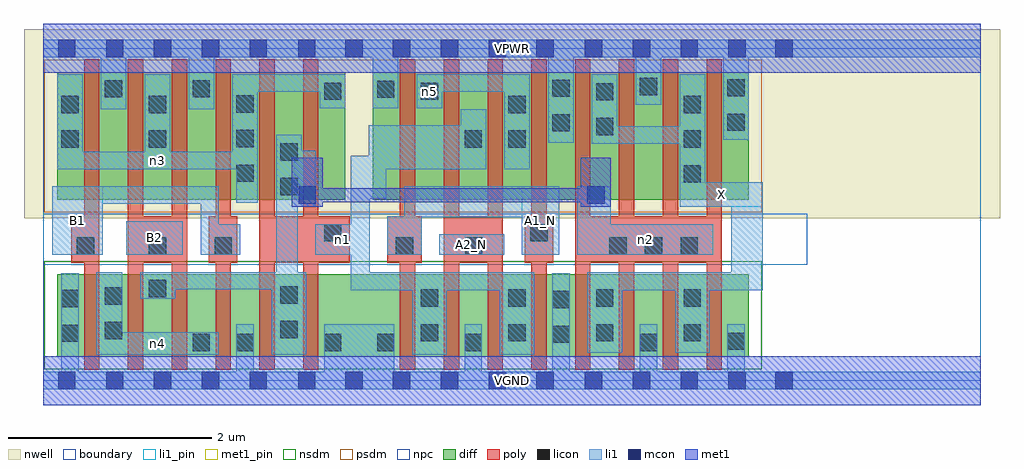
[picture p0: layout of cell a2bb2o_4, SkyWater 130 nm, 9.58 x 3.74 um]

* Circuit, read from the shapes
.subckt a2bb2o_4 A1_N A2_N B1 B2 VGND VPWR X n1 n2 n3 n4 n5
XM1 n4 B1 VGND VSUBS sky130_fd_pr__nfet_01v8 w=0.81 l=0.15 m=2
XM2 n2 B2 n4 VSUBS sky130_fd_pr__nfet_01v8 w=0.81 l=0.15 m=2
XM3 n2 n1 VGND VSUBS sky130_fd_pr__nfet_01v8 w=0.81 l=0.15 m=2
XM4 n1 A1_N VGND VSUBS sky130_fd_pr__nfet_01v8 w=0.81 l=0.15 m=2
XM5 VGND A2_N n1 VSUBS sky130_fd_pr__nfet_01v8 w=0.81 l=0.15 m=2
XM6 X n2 VGND VSUBS sky130_fd_pr__nfet_01v8 w=0.81 l=0.15 m=4
XM7 VPWR B1 n3 n6 sky130_fd_pr__pfet_01v8 w=1.25 l=0.15 m=2
XM8 n3 B2 VPWR n6 sky130_fd_pr__pfet_01v8 w=1.25 l=0.15 m=2
XM9 n2 n1 n3 n6 sky130_fd_pr__pfet_01v8 w=1.25 l=0.15 m=2
XM10 n5 A1_N VPWR n6 sky130_fd_pr__pfet_01v8 w=1.25 l=0.15 m=2
XM11 n1 A2_N n5 n6 sky130_fd_pr__pfet_01v8 w=1.25 l=0.15 m=2
XM12 X n2 VPWR n6 sky130_fd_pr__pfet_01v8 w=1.25 l=0.15 m=4
.ends

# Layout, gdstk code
import gdstk
lib = gdstk.Library(unit=1e-6, precision=1e-09)
def R(c, l, rs):  # rectangles x0, y0, x1, y1
    for r in rs: c.add(gdstk.rectangle(r[:2], r[2:], *l))
def A(c, l, x, y, w, h, nx, ny, dx, dy):  # array of equal rectangles
    R(c, l, [(x+i*dx, y+j*dy, x+i*dx+w, y+j*dy+h) for i in range(nx) for j in range(ny)])
nwell = (64, 20)
diff = (65, 20)
poly = (66, 20)
licon = (66, 44)
li1_pin = (67, 16)
li1 = (67, 20)
mcon = (67, 44)
met1_pin = (68, 16)
met1 = (68, 20)
nsdm = (93, 44)
psdm = (94, 20)
npc = (95, 20)
boundary = (235, 4)

a2bb2o_4 = lib.new_cell('a2bb2o_4')
R(a2bb2o_4, nwell, [(-0.19,1.595,9.39,3.45), (0,1.595,9.2,3.45)])
R(a2bb2o_4, diff, [(0.135,0.235,6.925,1.045), (0.135,1.775,2.965,3.025), (3.235,1.775,6.925,3.025)])
A(a2bb2o_4, poly, 0.4, 0.105, 0.15, 3.05, 6, 1, 0.43, 0)
A(a2bb2o_4, poly, 3.5, 0.105, 0.15, 3.05, 8, 1, 0.43, 0)
R(a2bb2o_4, poly, [(0.275,1.155,0.55,1.615), (0.83,1.155,1.41,1.615), (1.625,1.155,1.905,1.615), (2.12,1.155,3.005,1.615), (3.375,1.155,3.715,1.615), (3.93,1.155,4.51,1.615), (4.725,1.155,5.005,1.615), (5.22,1.155,6.66,1.615)])
A(a2bb2o_4, licon, 3.705, 0.385, 0.17, 0.17, 4, 2, 0.86, 0.34)
A(a2bb2o_4, licon, 5.555, 1.235, 0.17, 0.17, 3, 1, 0.35, 0)
A(a2bb2o_4, licon, 6.285, 1.945, 0.17, 0.17, 1, 3, 0, 0.34)
A(a2bb2o_4, licon, 1.895, 1.95, 0.17, 0.17, 1, 3, 0, 0.34)
R(a2bb2o_4, licon, [(1.465,0.29,1.635,0.46), (1.895,0.29,2.065,0.46), (2.755,0.29,2.925,0.46), (3.275,0.29,3.445,0.46), (4.135,0.29,4.305,0.46), (5.855,0.29,6.025,0.46), (6.715,0.3,6.885,0.47), (4.995,0.37,5.165,0.54), (0.175,0.38,0.345,0.55), (0.605,0.405,0.775,0.575), (2.325,0.415,2.495,0.585), (4.995,0.71,5.165,0.88), (0.175,0.72,0.345,0.89), (0.605,0.745,0.775,0.915), (2.325,0.755,2.495,0.925), (1.035,0.82,1.205,0.99), (0.33,1.235,0.5,1.405), (1.035,1.235,1.205,1.405), (1.68,1.235,1.85,1.405), (3.46,1.235,3.63,1.405), (4.14,1.235,4.31,1.405), (2.755,1.365,2.925,1.535), (4.78,1.365,4.95,1.535), (2.325,1.82,2.495,1.99), (2.325,2.16,2.495,2.33), (0.175,2.285,0.345,2.455), (1.035,2.285,1.205,2.455), (4.135,2.285,4.305,2.455), (4.565,2.285,4.735,2.455), (5.425,2.41,5.595,2.58), (4.995,2.445,5.165,2.615), (6.715,2.45,6.885,2.62), (0.175,2.625,0.345,2.795), (1.035,2.625,1.205,2.795), (4.565,2.625,4.735,2.795), (5.425,2.75,5.595,2.92), (2.755,2.755,2.925,2.925), (3.705,2.755,3.875,2.925), (3.275,2.775,3.445,2.945), (0.605,2.78,0.775,2.95), (1.465,2.78,1.635,2.95), (4.995,2.785,5.165,2.955), (6.715,2.79,6.885,2.96), (5.855,2.8,6.025,2.97)])
R(a2bb2o_4, li1_pin, [(0.085,1.235,0.585,1.905), (0.815,1.235,1.37,1.565), (3.885,1.235,4.525,1.435), (4.695,1.235,5.065,1.905), (6.245,1.705,7.06,1.945)])
A(a2bb2o_4, li1, 0.135, 2.075, 0.25, 0.93, 3, 1, 0.86, 0)
R(a2bb2o_4, li1, [(0,-0.085,9.2,0.085), (0.175,-0.085,0.345,1.055), (1.895,-0.085,2.065,0.555), (2.755,-0.085,3.445,0.555), (4.135,-0.085,4.305,0.555), (4.995,-0.085,5.165,1.055), (5.855,-0.085,6.025,0.555), (6.715,-0.085,6.885,0.555), (0.52,0.255,1.72,0.475), (0.52,0.255,0.775,1.065), (2.24,0.255,2.58,1.065), (2.285,0.255,2.495,2.415), (3.62,0.255,3.96,1.065), (4.48,0.255,4.82,1.065), (5.34,0.275,5.68,1.065), (6.2,0.275,6.54,1.065), (0.95,0.805,1.295,1.065), (3.015,0.885,4.82,1.065), (3.015,0.885,3.205,2.205), (5.34,0.885,7.06,1.065), (6.75,0.885,7.06,1.945), (0.95,0.895,2.58,1.065), (0.085,1.235,0.585,1.905), (0.815,1.235,1.37,1.565), (1.545,1.235,1.935,1.535), (1.545,1.235,1.72,1.905), (2.67,1.235,3.205,1.535), (3.375,1.235,3.715,1.615), (3.54,1.235,3.715,1.905), (3.885,1.235,4.525,1.435), (4.695,1.235,5.065,1.905), (5.24,1.235,6.575,1.535), (5.24,1.235,5.57,1.905), (3.54,1.605,5.065,1.905), (2.285,1.705,2.675,2.255), (2.285,1.705,2.535,2.415), (6.245,1.705,6.495,3.005), (6.245,1.705,7.06,1.945), (0.085,1.735,1.72,1.905), (1.895,1.745,2.105,3.005), (3.195,1.785,3.365,2.505), (0.135,2.075,2.105,2.245), (3.195,2.075,4.345,2.505), (4.095,2.075,4.345,2.665), (4.525,2.075,4.775,3.005), (5.385,2.325,6.495,2.495), (5.385,2.325,5.635,3.005), (4.955,2.335,5.205,3.345), (6.675,2.365,6.925,3.345), (0.565,2.665,0.815,3.345), (1.425,2.665,1.675,3.345), (2.715,2.675,2.965,3.005), (3.235,2.675,3.485,3.345), (3.665,2.675,3.915,3.005), (5.815,2.705,6.065,3.345), (1.855,2.835,2.965,3.005), (3.665,2.835,4.775,3.005), (0,3.175,9.2,3.345)])
A(a2bb2o_4, mcon, 0.145, -0.085, 0.17, 0.17, 5, 2, 0.47, 3.26)
A(a2bb2o_4, mcon, 2.5, -0.085, 0.17, 0.17, 3, 2, 0.465, 3.26)
A(a2bb2o_4, mcon, 3.9, -0.085, 0.17, 0.17, 3, 2, 0.47, 3.26)
A(a2bb2o_4, mcon, 5.315, -0.085, 0.17, 0.17, 4, 2, 0.47, 3.26)
R(a2bb2o_4, mcon, [(7.185,-0.085,7.355,0.085), (2.505,1.735,2.675,1.905), (5.34,1.735,5.51,1.905), (7.185,3.175,7.355,3.345)])
R(a2bb2o_4, met1_pin, [(0,-0.24,9.2,0.24), (0,3.02,9.2,3.5)])
R(a2bb2o_4, met1, [(0,-0.24,9.2,0.24), (2.44,1.705,2.74,2.185), (5.275,1.705,5.57,2.185), (2.44,1.75,5.57,1.89), (0,3.02,9.2,3.5)])
R(a2bb2o_4, nsdm, [(0.01,0.11,7.05,1.17)])
R(a2bb2o_4, psdm, [(0.01,1.65,7.05,3.15)])
R(a2bb2o_4, npc, [(0,1.135,7.5,1.635)])
R(a2bb2o_4, boundary, [(0,0,9.2,3.26)])
a2bb2o_4.add(gdstk.Label('A1_N', (4.88,1.57), layer=67, texttype=5))
a2bb2o_4.add(gdstk.Label('A2_N', (4.205,1.335), layer=67, texttype=5))
a2bb2o_4.add(gdstk.Label('B1', (0.335,1.57), layer=67, texttype=5))
a2bb2o_4.add(gdstk.Label('B2', (1.092,1.4), layer=67, texttype=5))
a2bb2o_4.add(gdstk.Label('X', (6.652,1.825), layer=67, texttype=5))
a2bb2o_4.add(gdstk.Label('n4', (1.12,0.365), layer=67, texttype=5))
a2bb2o_4.add(gdstk.Label('n2', (5.907,1.385), layer=67, texttype=5))
a2bb2o_4.add(gdstk.Label('n1', (2.937,1.385), layer=67, texttype=5))
a2bb2o_4.add(gdstk.Label('n3', (1.12,2.16), layer=67, texttype=5))
a2bb2o_4.add(gdstk.Label('n5', (3.79,2.84), layer=67, texttype=5))
a2bb2o_4.add(gdstk.Label('VPWR', (4.6,3.26), layer=68, texttype=5))
a2bb2o_4.add(gdstk.Label('VGND', (4.6,0), layer=68, texttype=5))
a2bb2o_4.add(gdstk.Label('A1_N', (4.88,1.57), layer=67, texttype=16))
a2bb2o_4.add(gdstk.Label('A2_N', (4.205,1.335), layer=67, texttype=16))
a2bb2o_4.add(gdstk.Label('B1', (0.335,1.57), layer=67, texttype=16))
a2bb2o_4.add(gdstk.Label('B2', (1.092,1.4), layer=67, texttype=16))
a2bb2o_4.add(gdstk.Label('X', (6.652,1.825), layer=67, texttype=16))
a2bb2o_4.add(gdstk.Label('VPWR', (4.6,3.26), layer=68, texttype=16))
a2bb2o_4.add(gdstk.Label('VGND', (4.6,0), layer=68, texttype=16))

lib.write_gds('a2bb2o_4.gds')
